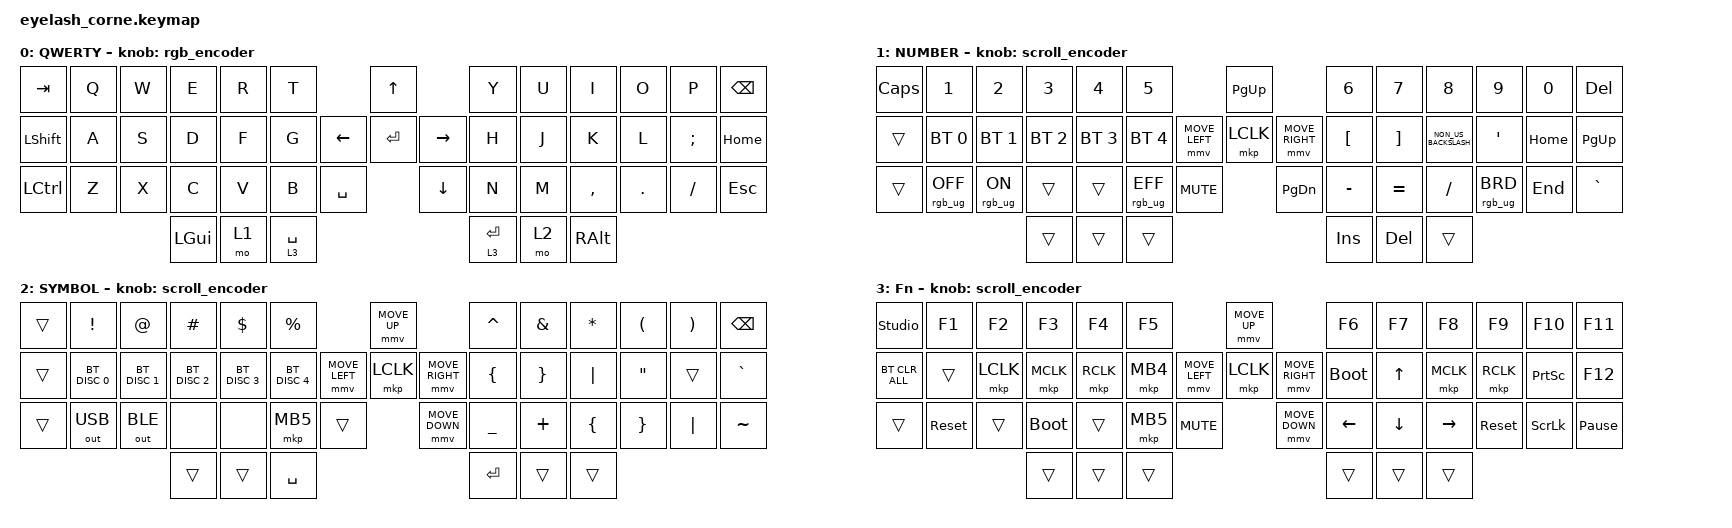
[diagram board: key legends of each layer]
#define ZMK_POINTING_DEFAULT_MOVE_VAL 1200  // 600
#define ZMK_POINTING_DEFAULT_SCRL_VAL 25   // 10

#include <input/processors.dtsi>
#include <zephyr/dt-bindings/input/input-event-codes.h>
#include <behaviors.dtsi>
#include <dt-bindings/zmk/bt.h>
#include <dt-bindings/zmk/keys.h>
#include <dt-bindings/zmk/outputs.h>
#include <dt-bindings/zmk/pointing.h>
#include <dt-bindings/zmk/rgb.h>

&mmv_input_listener { input-processors = <&zip_xy_scaler 2 1>; };

&msc_input_listener { input-processors = <&zip_scroll_scaler 2 1>; };

&msc {
    acceleration-exponent = <1>;      // 0
    time-to-max-speed-ms = <100>;       // 300
    delay-ms = <0>;                   // 0
};

&mmv {
    time-to-max-speed-ms = <500>;
    acceleration-exponent = <1>;
    trigger-period-ms = <16>;
};

&soft_off { hold-time-ms = <2000>; };

/ {
    behaviors {
        td0: td0 {
            compatible = "zmk,behavior-tap-dance";
            display-name = "Shift/Caps Lock Tap Dance";
            #binding-cells = <0>;
            bindings = <&kp LEFT_SHIFT>, <&kp CAPS>;
        };
    };

    rgb_encoder: rgb_encoder {
        compatible = "zmk,behavior-sensor-rotate";
        #sensor-binding-cells = <0>;
        bindings = <&rgb_ug RGB_BRI>, <&rgb_ug RGB_BRD>;
    };

    scroll_encoder: scroll_encoder {
        compatible = "zmk,behavior-sensor-rotate";
        #sensor-binding-cells = <0>;
        bindings = <&msc SCRL_DOWN>, <&msc SCRL_UP>;

        tap-ms = <100>;
    };

    combos {
        compatible = "zmk,combos";

        softoff {
            bindings = <&soft_off>;
            key-positions = <1 15 29>;
        };
    };

    keymap {
        compatible = "zmk,keymap";

        default_layer {
            display-name = "QWERTY";
            bindings = <
&kp TAB         &kp Q  &kp W  &kp E     &kp R  &kp T                               &kp UP                &kp Y        &kp U  &kp I      &kp O    &kp P     &kp BSPC
&kp LEFT_SHIFT  &kp A  &kp S  &kp D     &kp F  &kp G                     &kp LEFT  &kp ENTER  &kp RIGHT  &kp H        &kp J  &kp K      &kp L    &kp SEMI  &kp HOME
&kp LCTRL       &kp Z  &kp X  &kp C     &kp V  &kp B        &kp SPACE              &kp DOWN              &kp N        &kp M  &kp COMMA  &kp DOT  &kp FSLH  &kp ESC
                              &kp LGUI  &mo 1  &lt 3 SPACE                                               &lt 3 ENTER  &mo 2  &kp RALT
            >;

            sensor-bindings = <&rgb_encoder>;
        };

        lower_layer {
            display-name = "NUMBER";
            bindings = <
&kp CAPS  &kp N1           &kp N2          &kp N3        &kp N4        &kp N5                                         &kp PAGE_UP                     &kp N6            &kp N7             &kp N8                &kp N9           &kp N0    &kp DELETE
&trans    &bt BT_SEL 0     &bt BT_SEL 1    &bt BT_SEL 2  &bt BT_SEL 3  &bt BT_SEL 4                   &mmv MOVE_LEFT  &mkp LCLK      &mmv MOVE_RIGHT  &kp LEFT_BRACKET  &kp RIGHT_BRACKET  &kp NON_US_BACKSLASH  &kp SQT          &kp HOME  &kp PG_UP
&trans    &rgb_ug RGB_OFF  &rgb_ug RGB_ON  &trans        &trans        &rgb_ug RGB_EFF  &kp C_MUTE                    &kp PAGE_DOWN                   &kp MINUS         &kp EQUAL          &kp SLASH             &rgb_ug RGB_BRD  &kp END   &kp GRAVE
                                           &trans        &trans        &trans                                                                         &kp INS           &kp DEL            &trans
            >;

            sensor-bindings = <&scroll_encoder>;
        };

        raise_layer {
            display-name = "SYMBOL";
            bindings = <
&trans  &kp EXCL       &kp AT         &kp HASH       &kp DLLR       &kp PRCNT                                &mmv MOVE_UP                     &kp CARET       &kp AMPS         &kp ASTRK  &kp LPAR           &kp RPAR  &kp BSPC
&trans  &bt BT_DISC 0  &bt BT_DISC 1  &bt BT_DISC 2  &bt BT_DISC 3  &bt BT_DISC 4            &mmv MOVE_LEFT  &mkp LCLK       &mmv MOVE_RIGHT  &kp LEFT_BRACE  &kp RIGHT_BRACE  &kp PIPE   &kp DOUBLE_QUOTES  &trans    &kp GRAVE
&trans  &out OUT_USB   &out OUT_BLE   &none          &none          &mkp MB5       &trans                    &mmv MOVE_DOWN                   &kp UNDER       &kp PLUS         &kp LBRC   &kp RBRC           &kp PIPE  &kp TILDE
                                      &trans         &trans         &kp SPACE                                                                 &kp RET         &trans           &trans
            >;

            sensor-bindings = <&scroll_encoder>;
        };

        layer_3 {
            display-name = "Fn";
            bindings = <
&studio_unlock  &kp F1      &kp F2     &kp F3       &kp F4     &kp F5                                  &mmv MOVE_UP                     &kp F6          &kp F7          &kp F8     &kp F9      &kp F10          &kp F11
&bt BT_CLR_ALL  &trans      &mkp LCLK  &mkp MCLK    &mkp RCLK  &mkp MB4                &mmv MOVE_LEFT  &mkp LCLK       &mmv MOVE_RIGHT  &bootloader     &kp UP_ARROW    &mkp MCLK  &mkp RCLK   &kp PRINTSCREEN  &kp F12
&trans          &sys_reset  &trans     &bootloader  &trans     &mkp MB5  &kp C_MUTE                    &mmv MOVE_DOWN                   &kp LEFT_ARROW  &kp DOWN_ARROW  &kp RIGHT  &sys_reset  &kp SCROLLLOCK   &kp PAUSE_BREAK
                                       &trans       &trans     &trans                                                                   &trans          &trans          &trans
            >;

            sensor-bindings = <&scroll_encoder>;
        };
    };
};
